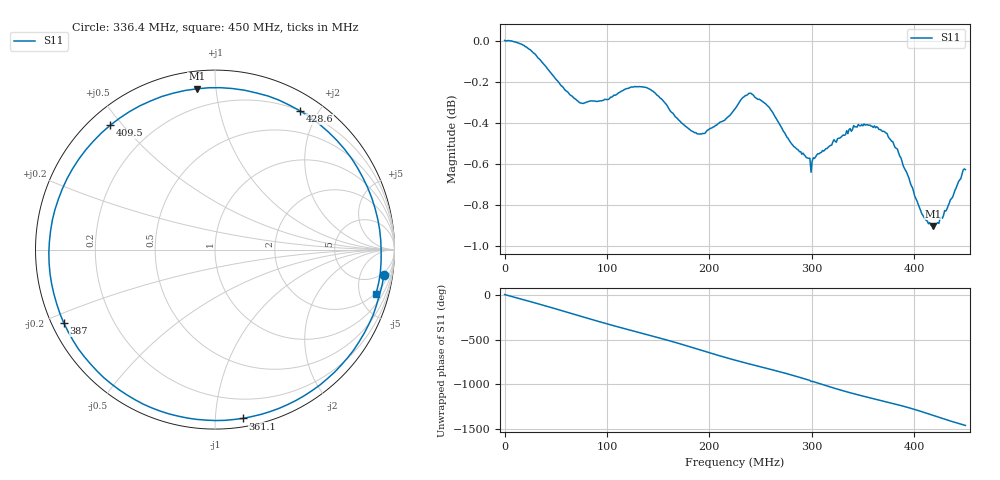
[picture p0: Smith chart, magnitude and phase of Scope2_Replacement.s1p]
! NanoVNA-App
! Date: 2026-10-05 12:05:36
! Start: 50kHz Stop: 450MHz Points: 401
! S-Parameter data: F S11
# Hz S RI R 50
!  Frequency  S11_Real  S11_Imag
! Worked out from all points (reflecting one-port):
!   401 points, 50 kHz to 450 MHz, reference 50 ohm
!   lowest |S11| = -0.9 dB at 418.5 MHz (marker M1), VSWR 19.29, Z = 4.65 + j44.5 ohm
!   phase of S11 starts at -0 deg and turns -1455 deg over the sweep
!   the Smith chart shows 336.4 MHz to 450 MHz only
!   S11 on the Smith chart (normalised r, x): 336.4 MHz: 4, -12; 361.1 MHz: 0.06, -1.18; 387 MHz: 0.03, -0.23; 409.5 MHz: 0.06, +0.46; 428.6 MHz: 0.20, +1.77; 450 MHz: 1.85, -6.85
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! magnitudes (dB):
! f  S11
! 50 kHz  0.0
! 23.67 MHz  0.0
! 56.29 MHz  -0.2
! 75.42 MHz  -0.3
! 100.2 MHz  -0.3
! 112.5 MHz  -0.3
! 124.9 MHz  -0.2
! 140.7 MHz  -0.2
! 168.8 MHz  -0.4
! 183.4 MHz  -0.4
! 193.5 MHz  -0.5
! 225 MHz  -0.3
! 232.9 MHz  -0.3
! 241.9 MHz  -0.3
! 258.8 MHz  -0.3
! 281.3 MHz  -0.5
! 300.4 MHz  -0.6
! 336.4 MHz  -0.4
! 337.5 MHz  -0.4
! 347.6 MHz  -0.4
! 361.1 MHz  -0.4
! 372.4 MHz  -0.4
! 387 MHz  -0.6
! 393.8 MHz  -0.7
! 409.5 MHz  -0.9
! 418.5 MHz  -0.9
! 428.6 MHz  -0.9
! 450 MHz  -0.6
